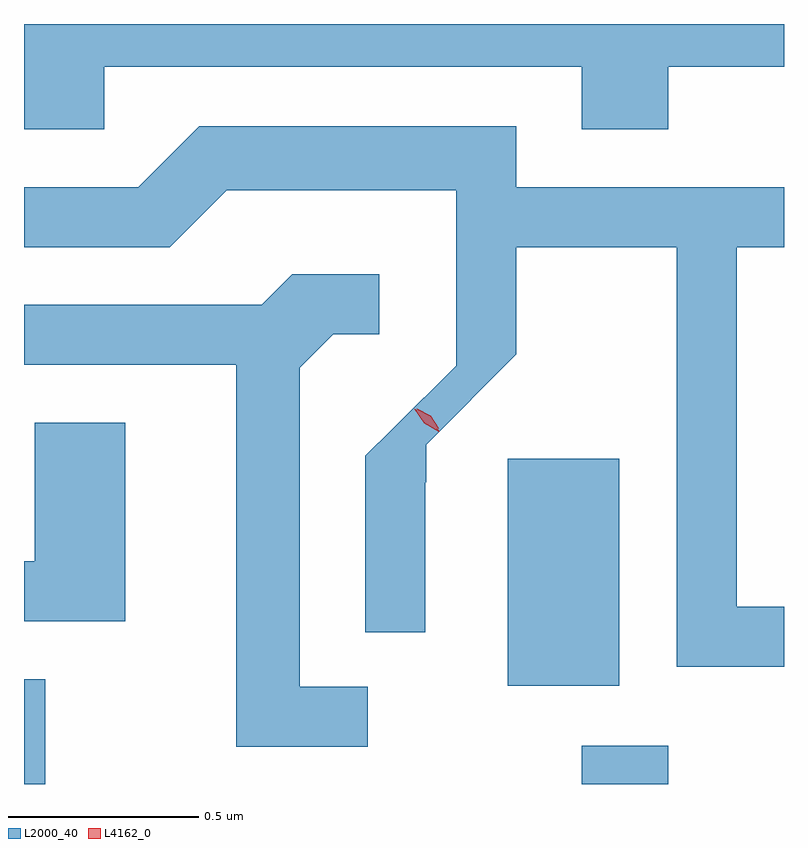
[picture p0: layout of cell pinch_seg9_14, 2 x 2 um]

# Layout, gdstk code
import gdstk
lib = gdstk.Library(unit=1e-6, precision=1e-09)
def R(c, l, rs):  # rectangles x0, y0, x1, y1
    for r in rs: c.add(gdstk.rectangle(r[:2], r[2:], *l))
def P(c, l, *ps):  # polygons
    for p in ps: c.add(gdstk.Polygon(p, *l))
L2000_40 = (2000, 40)
L4162_0 = (4162, 0)

pinch_seg9_14 = lib.new_cell('pinch_seg9_14')
R(pinch_seg9_14, L2000_40, [(1907.483,1992.148,1907.539,1992.424), (1908.951,1992.148,1909.179,1992.249), (1908.756,1992.406,1909.049,1993.004)])
P(pinch_seg9_14, L2000_40, [(1907.694,1994.036),(1908.951,1994.036),(1908.951,1993.871),(1909.179,1993.871),(1909.179,1994.036),(1909.483,1994.036),(1909.483,1994.148),(1907.483,1994.148),(1907.483,1993.871),(1907.694,1993.871)],
  [(1909.483,1992.614),(1909.359,1992.614),(1909.359,1993.561),(1909.483,1993.561),(1909.483,1993.719),(1908.779,1993.719),(1908.779,1993.879),(1907.944,1993.879),(1907.784,1993.719),(1907.483,1993.719),(1907.483,1993.561),(1907.867,1993.561),(1908.017,1993.711),(1908.621,1993.711),(1908.621,1993.347),(1908.62,1993.347),(1908.62,1993.249),(1908.452,1993.081),(1908.452,1993.082),(1908.381,1993.012),(1908.381,1992.548),(1908.539,1992.548),(1908.539,1992.942),(1908.541,1992.942),(1908.541,1993.041),(1908.779,1993.279),(1908.779,1993.561),(1909.201,1993.561),(1909.201,1992.456),(1909.483,1992.456)],
  [(1908.388,1992.404),(1908.209,1992.404),(1908.209,1993.244),(1908.297,1993.331),(1908.418,1993.331),(1908.418,1993.489),(1908.189,1993.489),(1908.109,1993.409),(1907.483,1993.409),(1907.483,1993.251),(1908.041,1993.251),(1908.041,1992.246),(1908.388,1992.246)],
  [(1907.749,1993.099),(1907.511,1993.099),(1907.511,1992.734),(1907.483,1992.734),(1907.483,1992.576),(1907.749,1992.576)])
P(pinch_seg9_14, L4162_0, [(1908.575,1993.075),(1908.536,1993.098),(1908.51,1993.135),(1908.51,1993.135),(1908.51,1993.135),(1908.549,1993.113),(1908.576,1993.076),(1908.576,1993.075)],
  [(1908.574,1993.083),(1908.54,1993.102),(1908.517,1993.135),(1908.517,1993.135),(1908.518,1993.135),(1908.553,1993.117),(1908.575,1993.084),(1908.575,1993.083)])

lib.write_gds('pinch_seg9_14.gds')
